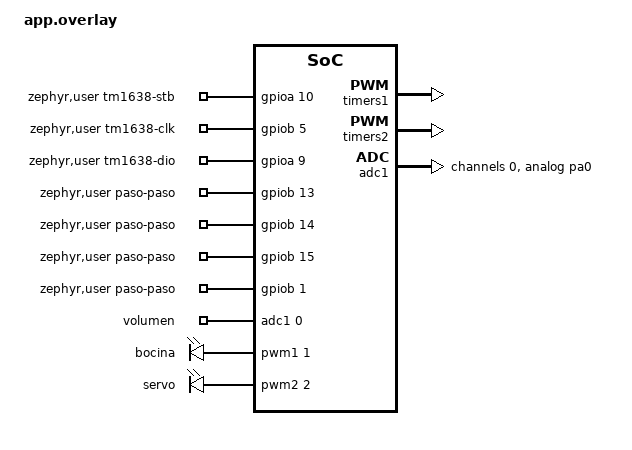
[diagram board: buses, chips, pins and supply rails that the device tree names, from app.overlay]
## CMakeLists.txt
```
# SPDX-License-Identifier: Apache-2.0

cmake_minimum_required(VERSION 3.20.0)

find_package(Zephyr REQUIRED HINTS $ENV{ZEPHYR_BASE})
project(hello_world)

target_sources(app PRIVATE
    src/main.c
    src/tm1638.c
    src/megalovania.h
)
```

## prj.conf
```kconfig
# Added automatically by Workbench for Zephyr
#--- DEBUG PRESET - BEGIN ---#
# Set to -Og
CONFIG_DEBUG_OPTIMIZATIONS=y
# Thread awareness support
CONFIG_DEBUG_THREAD_INFO=y
# Generate stack usage per-function
CONFIG_STACK_USAGE=y
# Other options in case not set by default
CONFIG_BUILD_OUTPUT_HEX=y
CONFIG_BUILD_OUTPUT_META=y
CONFIG_OUTPUT_SYMBOLS=y
CONFIG_OUTPUT_STAT=y
CONFIG_OUTPUT_DISASSEMBLY=y
CONFIG_OUTPUT_PRINT_MEMORY_USAGE=y
#--- DEBUG PRESET - END ---#
CONFIG_GPIO=y
CONFIG_PWM=y
CONFIG_LOG=y
CONFIG_RTC=y
CONFIG_ADC=y
```

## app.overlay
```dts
#include <zephyr/dt-bindings/pinctrl/stm32-pinctrl.h>
#include <zephyr/dt-bindings/timer/stm32-timer.h>
#include <zephyr/dt-bindings/gpio/gpio.h>
#include <zephyr/dt-bindings/pwm/pwm.h>
#include <zephyr/dt-bindings/adc/adc.h>

/{
	zephyr,user {
		tm1638-stb-gpios = <&gpioa 10 GPIO_ACTIVE_HIGH>;
		tm1638-clk-gpios = <&gpiob 5 GPIO_ACTIVE_HIGH>;
		tm1638-dio-gpios = <&gpioa 9 GPIO_ACTIVE_HIGH>;

		paso-paso-gpios =<&gpiob 13 GPIO_ACTIVE_HIGH>,
				<&gpiob 14 GPIO_ACTIVE_HIGH>,
				<&gpiob 15 GPIO_ACTIVE_HIGH>,
				<&gpiob 1 GPIO_ACTIVE_HIGH>;

		io-channels = <&adc1 0>;
		io-channel-names = "volumen";
	};

	bocina_servo_pwm{
		compatible = "pwm-leds";

		bocina: out-pwm {
			pwms = <&pwm1 1 PWM_MSEC(20) PWM_POLARITY_NORMAL>;
		};

		servo: out-pwm-2 {
			pwms= <&pwm2 2 PWM_MSEC(20) PWM_POLARITY_NORMAL>;
		};
	};
};

&timers1 {
	status = "okay";
	st,prescaler = <83>;
	pwm1: pwm{
		status = "okay";
		pinctrl-0 = <&tim1_ch1_pa8>;
		pinctrl-names = "default";
	};
};

&timers2 {
	status = "okay";
	st,prescaler = <83>;
	pwm2: pwm{
		status = "okay";
		pinctrl-0 = <&tim2_ch2_pb3>;
		pinctrl-names = "default";
	};
};

&adc1 {
	#address-cells = <1>;
	#size-cells = <0>;
    	pinctrl-names = "default";
    	pinctrl-0 = <&analog_pa0>;
    	status = "okay";
	channel@0{
		reg = <0>;
		zephyr,gain = "ADC_GAIN_1";
		zephyr,reference = "ADC_REF_INTERNAL";
		zephyr,vref-mv = <3300>;
		zephyr,acquisition-time = <ADC_ACQ_TIME(ADC_ACQ_TIME_MICROSECONDS, 40)>;
		zephyr,resolution = <12>;
	};
};
```

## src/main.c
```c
/*
 * Copyright (c) 2012-2014 Wind River Systems, Inc.
 *
 * SPDX-License-Identifier: Apache-2.0
 */
#include <zephyr/kernel.h>
#include <zephyr/drivers/gpio.h>
#include <zephyr/drivers/rtc.h>
#include <zephyr/devicetree.h>
#include <zephyr/drivers/adc.h>
#include <zephyr/sys/util.h>
#include <zephyr/device.h>
#include <zephyr/logging/log.h>
#include <zephyr/drivers/pwm.h>
#include "tm1638.h"	
#include <stdlib.h>
#include <math.h>
#include "megalovania.h"

#define USER_NODE DT_PATH(zephyr_user)

#define STACK_SIZE 512

#define PRIORITY_ONE 1
#define PRIORITY_TWO 2
#define PRIORITY_TRE 3
#define PRIORITY_FOR 4
#define PRIORITY_FIV 5

#define CLAVE_CAJA 2707

LOG_MODULE_REGISTER(puerta, LOG_LEVEL_DBG);

//colas

//colas adc

K_MSGQ_DEFINE(lec_raw , sizeof(int16_t),2, 1);
K_MSGQ_DEFINE(lec_fun , sizeof(int16_t),2, 1);
K_MSGQ_DEFINE(sum_fun , sizeof(int),1, 1);
K_MSGQ_DEFINE(lec_fin , sizeof(int16_t),1, 1);

//colas boton

K_MSGQ_DEFINE(botones , sizeof(int),1, 1);
K_MSGQ_DEFINE(antireb, sizeof(int),1, 1);
K_MSGQ_DEFINE(ingreso , sizeof(int),1, 1);
K_MSGQ_DEFINE(numero , sizeof(int),1, 1);

//colas de control

K_MSGQ_DEFINE(open_close , sizeof(bool),1, 1);
K_MSGQ_DEFINE(fail_pass , sizeof(bool),1, 1);
K_MSGQ_DEFINE(s0_s90 , sizeof(bool),1, 1);
K_MSGQ_DEFINE(paspas , sizeof(bool),1, 1);
//semaforos

K_SEM_DEFINE(dis,0,1);
K_SEM_DEFINE(enter,0,1);

K_SEM_DEFINE(bocina,0,1);
K_SEM_DEFINE(pasos,0,1);

//mutex

K_MUTEX_DEFINE(hw_access);

//bobinas

static const struct gpio_dt_spec b[4] ={
	GPIO_DT_SPEC_GET_BY_IDX(USER_NODE, paso_paso_gpios, 0),
	GPIO_DT_SPEC_GET_BY_IDX(USER_NODE, paso_paso_gpios, 1),
	GPIO_DT_SPEC_GET_BY_IDX(USER_NODE, paso_paso_gpios, 2),
	GPIO_DT_SPEC_GET_BY_IDX(USER_NODE, paso_paso_gpios, 3),
};

//tm1638

static const struct gpio_dt_spec stb_pin =
	GPIO_DT_SPEC_GET(USER_NODE, tm1638_stb_gpios);
static const struct gpio_dt_spec clk_pin =
	GPIO_DT_SPEC_GET(USER_NODE, tm1638_clk_gpios);
static const struct gpio_dt_spec dio_pin =
	GPIO_DT_SPEC_GET(USER_NODE, tm1638_dio_gpios);

//ADC

static const struct adc_dt_spec vol =
	ADC_DT_SPEC_GET_BY_NAME(USER_NODE, volumen);

//pwms

static const struct pwm_dt_spec boc = 
	PWM_DT_SPEC_GET(DT_NODELABEL(bocina));
static const struct pwm_dt_spec ser = 
	PWM_DT_SPEC_GET(DT_NODELABEL(servo));

void pasfal(bool i){
	if (i) {
		tm1638_set_digit(4, 0x73); //P
		tm1638_set_digit(5, 0x77); //A
		tm1638_set_digit(6, 0x6D); //S
		tm1638_set_digit(7, 0xED); //S.
	}
	else{
		tm1638_set_digit(4, 0x71); //F
		tm1638_set_digit(5, 0x77); //A
		tm1638_set_digit(6, 0x30); //I
		tm1638_set_digit(7, 0xB8); //L
	}
}

void opco (bool i){
	if (i){
		tm1638_set_digit(4, 0x3F); //O
		tm1638_set_digit(5, 0x73); //P
		tm1638_set_digit(6, 0x79); //E
		tm1638_set_digit(7, 0xD4); //N.
	}
	else{
		tm1638_set_digit(4, 0x39); //C
		tm1638_set_digit(5, 0x38); //L
		tm1638_set_digit(6, 0x3F); //0
		tm1638_set_digit(7, 0xED); //S.
	}
}

//lectura adc

void leer_vol(void){
	int rec;

	int16_t rawvol;

	if (!device_is_ready(vol.dev)){
		LOG_WRN("ADC no esta listo");
	}
	rec = adc_channel_setup_dt(&vol);
	if (rec!=0){
		LOG_WRN("ADC no se pudo configurar");
	}

	struct adc_sequence sec = {
    	.buffer = &rawvol,
    	.buffer_size = sizeof(rawvol),
    };

	while (1){
		rec = adc_sequence_init_dt(&vol, &sec);
		if (rec!=0) LOG_DBG("Error lectura adc: %d", rec);
		rec = adc_read(vol.dev, &sec);
		if (rec!=0) LOG_DBG("Error leer vol: %d", rec);
		k_msgq_put(&lec_raw, &rawvol, K_NO_WAIT);
		k_msleep(50);
	}
}

void funcion_adc (void){
	int16_t rawvol, fin, last = 0;
	float a = 0.1;
	while(1){
		k_msgq_get(&lec_raw, &rawvol, K_FOREVER);
		fin = (int16_t)(last + a*(rawvol - last));
		last = fin;
		k_msgq_put(&lec_fun, &fin, K_NO_WAIT);
	}
}

void suma_adc (void){
	int16_t lec;
	int i = 10, subt=0;
	while (1)
	{
		i ++;
		k_msgq_get(&lec_fun, &lec, K_FOREVER);
		subt += lec;
		if (i == 10){
			i=0;
			k_msgq_put(&sum_fun, &subt, K_NO_WAIT);
			subt = 0;
		}
	}
}

void promedio_adc (void){
	int sum;
	int16_t prom;
	while (1)
	{
		k_msgq_get(&sum_fun, &sum, K_FOREVER);
		prom = sum/10;
		k_msgq_purge(&lec_fin);
		k_msgq_put(&lec_fin, &prom, K_NO_WAIT);
	}
}

//lectura de botones

void lecbot(void){
	int rec, boton;

	rec = tm1638_init(stb_pin, clk_pin, dio_pin);
	if(rec!=0) LOG_WRN("error al iniciar el tm1638 rec = %d\n", rec);

	tm1638_display(0);

	k_msgq_put(&open_close, false, K_NO_WAIT);

	k_sem_give(&dis);
	while(1){
		k_mutex_lock(&hw_access, K_FOREVER);
		boton = tm1638_get_button();
		k_mutex_unlock(&hw_access);
		k_msgq_put(&botones, &boton, K_NO_WAIT);
		k_msleep(50);
	}
}

void antir(void){
	int boton=0, last = 0;
	while(1){
		k_msgq_get(&botones, &boton, K_FOREVER);
		if (boton > 0 && boton != last) {
			k_msgq_put(&antireb, &boton, K_NO_WAIT);
		}
		last = boton;
	}		
}

void menu(void){
	int boton;
	bool i =false;
	while(1){
		k_msgq_get(&antireb, &boton, K_FOREVER);
		if (boton >=1 && boton <= 4) k_msgq_put(&numero, &boton, K_NO_WAIT);
		else if (boton == 5) k_sem_give(&enter);
		else if (boton == 6) k_msgq_put(&open_close, &i, K_NO_WAIT);//boton la cierra nuevamente
	}
}

//display

void numero_mostrar(void){
	int boton, nu[4] = {0,0,0,0}, clave = 0;
	while(1){
		k_msgq_get(&numero, &boton, K_FOREVER);
		nu[boton-1] = (nu[boton-1] + 1) % 10;
		k_mutex_lock(&hw_access, K_FOREVER);
		tm1638_set_number(boton-1, nu[boton-1]);
		k_mutex_unlock(&hw_access);
		clave = nu[0]*1000 + nu[1]*100 + nu[2]*10 + nu[3];
		k_msgq_purge(&ingreso);
		k_msgq_put(&ingreso, &clave, K_NO_WAIT);
	}
}

//interno

void claverec(void){
	int clave= 0 ;
	bool i = true, j =false;
	while(1){
		k_sem_take(&enter, K_FOREVER);
		k_msgq_peek(&ingreso, &clave);
		if (clave == CLAVE_CAJA){
			k_msgq_put(&fail_pass, &i, K_NO_WAIT);
			k_msleep(1000);
			k_msgq_put(&open_close, &i, K_NO_WAIT);
		}
		else{
			k_msgq_put(&fail_pass, &j, K_NO_WAIT); 
		}
	}
}

void openclose(void){
	bool rec, i=true, j=false;
	while(1){
		k_msgq_get(&open_close, &rec, K_FOREVER);
		k_mutex_lock(&hw_access,K_FOREVER);
		opco(rec);
		k_mutex_unlock(&hw_access);
		if (rec == true){
			k_msgq_put(&s0_s90, &i, K_NO_WAIT);
			k_msgq_put(&paspas, &i, K_NO_WAIT);
			k_sem_give(&bocina);
		}
		else{
			k_msgq_put(&s0_s90, &j, K_NO_WAIT);
			k_msgq_put(&paspas, &j, K_NO_WAIT);
		}
	}
}

void failpass(void){
	bool rec;
	while(1){
		k_msgq_get(&fail_pass, &rec, K_FOREVER);
		k_mutex_lock(&hw_access, K_FOREVER);
			pasfal(rec);
		k_mutex_unlock(&hw_access);
	}
}


//funcion de la bocina

void reproducir_nota(const struct pwm_dt_spec *pwm, uint32_t frecuencia_hz, uint32_t duracion_ms)
{
	int16_t rawvol;

    if (frecuencia_hz == SILENCIO)  pwm_set_pulse_dt(pwm, 0);
    else {
		k_msgq_peek(&lec_fin,&rawvol);
        uint32_t periodo_ns = 1000000000U / frecuencia_hz;
        
        uint32_t pulso_max = periodo_ns / 2;

		uint32_t pulso_ns = (pulso_max*rawvol)/4095;

        pwm_set_dt(pwm, periodo_ns, pulso_ns);
    }

    k_msleep(duracion_ms);

    pwm_set_pulse_dt(pwm, 0);
    k_msleep(20);
}

void megalo(void){
	if (!pwm_is_ready_dt(&boc)) LOG_ERR("Bocina no esta lista:");
	while(1){
		k_sem_take(&bocina, K_FOREVER);
		for (int i = 0; i < megalovania_length; i++) {
			reproducir_nota(&boc, megalovania_intro[i].frecuencia, megalovania_intro[i].duracion);
		}
	}
}

//funsiones servo

void servomotor (void){
	if (!pwm_is_ready_dt(&ser)) LOG_ERR("No se pudo configurar el servo");
	pwm_set_pulse_dt(&ser, 1000000);
	bool i;
	while (1){
		k_msgq_get(&s0_s90, &i, K_FOREVER);
		if(i) pwm_set_pulse_dt(&ser, 1000000);
		else pwm_set_pulse_dt(&ser, 2000000);
	}
}

//funciones paso a paso

void pasoapas(void){
	for (int i = 0; i < 4; i++) {
        if (!gpio_is_ready_dt(&b[i])) {
            LOG_ERR("no esta listo el paso a paso");
			return;
        }
        gpio_pin_configure_dt(&b[i], GPIO_OUTPUT_INACTIVE);
    }
	bool k;
	int pasos[8][4]={
		{1,0,0,0},
		{1,1,0,0},
		{0,1,0,0},
		{0,1,1,0},
		{0,0,1,0},
		{0,0,1,1},
		{0,0,0,1},
		{1,0,0,1}};
	while (1)
	{
		k_msgq_get(&paspas, &k, K_FOREVER);
		if (k) {
			for (int i = 0; i < 20; i++)
			{
				for (int j = 0; j < 4; j++)
				{
					gpio_pin_set_dt(&b[j], pasos[i%8][j]);
				}
				k_msleep(20);
			}
		}
		else{
			for (int i = 19; i >= 0; i--)
			{
				for (int j = 0; j < 4; j++)
				{
					gpio_pin_set_dt(&b[j], pasos[i%8][j]);
				}
				k_msleep(20);
			}
		}
	}	
}


K_THREAD_DEFINE (lectura_voltaje, STACK_SIZE, leer_vol, NULL, NULL, NULL,
	PRIORITY_ONE, 0, 0);
K_THREAD_DEFINE (funcion_voltaje, STACK_SIZE, funcion_adc, NULL, NULL, NULL,
	PRIORITY_ONE, 0, 0);
K_THREAD_DEFINE (funcion_suma, STACK_SIZE, suma_adc, NULL, NULL, NULL,
	PRIORITY_ONE, 0, 0);
K_THREAD_DEFINE (promedio_suma, STACK_SIZE, promedio_adc, NULL, NULL, NULL,
	PRIORITY_ONE, 0, 0);

K_THREAD_DEFINE (lectura_boton, STACK_SIZE, lecbot, NULL, NULL, NULL,
	PRIORITY_FIV, 0, 0);
K_THREAD_DEFINE (anti_rebote, STACK_SIZE, antir, NULL, NULL, NULL,
	PRIORITY_FIV, 0, 0);
K_THREAD_DEFINE (menu_boton, STACK_SIZE, menu, NULL, NULL, NULL,
	PRIORITY_FIV, 0, 0);


K_THREAD_DEFINE (displaym, STACK_SIZE, numero_mostrar, NULL, NULL, NULL,
	PRIORITY_FOR, 0, 0);

K_THREAD_DEFINE (rec_clave, STACK_SIZE, claverec, NULL, NULL, NULL,
	PRIORITY_TRE, 0, 0);
K_THREAD_DEFINE (abrir_cerrar, STACK_SIZE, openclose, NULL, NULL, NULL,
	PRIORITY_TRE, 0, 0);
K_THREAD_DEFINE (fallar_pasar, STACK_SIZE, failpass, NULL, NULL, NULL,
	PRIORITY_TRE, 0, 0);

K_THREAD_DEFINE (bocina_megalo, STACK_SIZE, megalo, NULL, NULL, NULL,
	PRIORITY_TWO, 0, 0);

K_THREAD_DEFINE (motor_pasos, STACK_SIZE, pasoapas, NULL, NULL, NULL,
	PRIORITY_TRE, 0, 0);
K_THREAD_DEFINE (motor_servo, STACK_SIZE, servomotor, NULL, NULL, NULL,
	PRIORITY_TRE, 0, 0);
```

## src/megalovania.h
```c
#ifndef MEGALOVANIA_H
#define MEGALOVANIA_H

#include <stdint.h>

/* Estructura para definir cada paso de la melodía */
struct nota_musical {
    uint32_t frecuencia; /* Frecuencia en Hz (0 para silencio) */
    uint32_t duracion;   /* Duración en milisegundos */
};

/* Frecuencias de las notas necesarias (en Hz) */
#define NOTA_B3  247
#define NOTA_BB3 233
#define NOTA_C4  262
#define NOTA_D4  294
#define NOTA_F4  349
#define NOTA_G4  392
#define NOTA_GS4 415
#define NOTA_A4  440
#define NOTA_D5  587
#define SILENCIO 0

/* Tempo base en milisegundos */
#define TEMPO 110

/* Partitura de la intro (4 compases) */
static const struct nota_musical megalovania_intro[] = {
    /* Compás 1 */
    {NOTA_D4, TEMPO}, {NOTA_D4, TEMPO}, {NOTA_D5, TEMPO * 2}, {NOTA_A4, TEMPO * 2},
    {SILENCIO, TEMPO}, {NOTA_GS4, TEMPO}, {SILENCIO, TEMPO / 2}, {NOTA_G4, TEMPO * 2},
    {NOTA_F4, TEMPO * 2}, {NOTA_D4, TEMPO}, {NOTA_F4, TEMPO}, {NOTA_G4, TEMPO},

    /* Compás 2 */
    {NOTA_C4, TEMPO}, {NOTA_C4, TEMPO}, {NOTA_D5, TEMPO * 2}, {NOTA_A4, TEMPO * 2},
    {SILENCIO, TEMPO}, {NOTA_GS4, TEMPO}, {SILENCIO, TEMPO / 2}, {NOTA_G4, TEMPO * 2},
    {NOTA_F4, TEMPO * 2}, {NOTA_D4, TEMPO}, {NOTA_F4, TEMPO}, {NOTA_G4, TEMPO},

    /* Compás 3 */
    {NOTA_B3, TEMPO}, {NOTA_B3, TEMPO}, {NOTA_D5, TEMPO * 2}, {NOTA_A4, TEMPO * 2},
    {SILENCIO, TEMPO}, {NOTA_GS4, TEMPO}, {SILENCIO, TEMPO / 2}, {NOTA_G4, TEMPO * 2},
    {NOTA_F4, TEMPO * 2}, {NOTA_D4, TEMPO}, {NOTA_F4, TEMPO}, {NOTA_G4, TEMPO},

    /* Compás 4 */
    {NOTA_BB3, TEMPO}, {NOTA_BB3, TEMPO}, {NOTA_D5, TEMPO * 2}, {NOTA_A4, TEMPO * 2},
    {SILENCIO, TEMPO}, {NOTA_GS4, TEMPO}, {SILENCIO, TEMPO / 2}, {NOTA_G4, TEMPO * 2},
    {NOTA_F4, TEMPO * 2}, {NOTA_D4, TEMPO}, {NOTA_F4, TEMPO}, {NOTA_G4, TEMPO}
};

/* Calculamos automáticamente la cantidad de notas del arreglo */
static const int megalovania_length = sizeof(megalovania_intro) / sizeof(megalovania_intro[0]);

#endif /* MEGALOVANIA_H */
```

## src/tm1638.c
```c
#include "tm1638.h"
#include <zephyr/kernel.h>
#include <stdbool.h>
#include <errno.h>
#include <zephyr/sys/printk.h>

#define TM1638_DEBOUNCE_MS 30
#define TM1638_MAX_VALUE   99999999

/*
 * --- Protocolo del TM1638 (resumen) ---
 *
 * 3 lineas:
 *   STB  chip select. En reposo esta en alto; se pone en bajo mientras
 *        dura una transaccion (uno o mas bytes) y vuelve a alto al
 *        terminarla.
 *   CLK  reloj generado por nosotros (el maestro). En reposo alto.
 *   DIO  datos, BIDIRECCIONAL: nosotros la manejamos como salida para
 *        escribir comandos/datos, y la reconfiguramos como entrada
 *        solo durante los 4 bytes que el TM1638 responde al leer el
 *        teclado (ver scan_keys_raw). Por eso cada funcion de bajo
 *        nivel reconfigura gpio_pin_configure_dt(&tm.dio, ...) segun
 *        si va a transmitir o a recibir.
 *
 * Cada byte va LSB primero; DIO cambia con CLK en bajo y se
 * muestrea/valida con CLK en alto (igual que un SPI modo 0 casero).
 *
 * Comandos que usa esta libreria (primer byte de cada transaccion, con
 * STB en bajo mientras dura):
 *   0x44        Modo de escritura con direccion fija: el siguiente
 *               byte fija la direccion (0xC0|addr) y el que sigue a
 *               ese es el dato para esa direccion. Se usa para poder
 *               escribir un solo digito/LED sin tocar el resto.
 *   0xC0 | addr Fija la direccion (0-15) de la memoria de display para
 *               el byte de datos que sigue.
 *   0x80 | n    Control de pantalla: bit3 = encendida (1) / apagada
 *               (0), bits 0-2 = brillo (0-7).
 *   0x42        Inicia lectura del teclado: tras enviar este byte con
 *               STB en bajo, el maestro pone DIO en entrada y hace 4
 *               pulsos de reloj mas para leer 4 bytes de vuelta.
 *
 * La memoria de display tiene 16 direcciones (0x0-0xF). En los modulos
 * "LED&KEY" (el mas comun: 8 digitos + 8 LEDs + 8 botones en fila),
 * cada digito i vive en la direccion par i*2 y su LED asociado en la
 * direccion impar i*2+1.
 */

struct tm1638_state {
	struct gpio_dt_spec stb;
	struct gpio_dt_spec clk;
	struct gpio_dt_spec dio;
	bool initialized;

	/* Antirrebote de botones (ver tm1638_get_button). */
	uint8_t keys_raw_prev;
	uint8_t keys_stable;
	int64_t keys_change_ts;
};

static struct tm1638_state tm;

/* Segmentos a-g para digitos 0-9, usados por tm1638_display(). */
static const uint8_t digit_font[10] = {
	0x3F, 0x06, 0x5B, 0x4F, 0x66,
	0x6D, 0x7D, 0x07, 0x7F, 0x6F,
};

static void send_byte(uint8_t b)
{
	gpio_pin_configure_dt(&tm.dio, GPIO_OUTPUT);

	for (int i = 0; i < 8; i++) {
		gpio_pin_set_dt(&tm.clk, 0);
		gpio_pin_set_dt(&tm.dio, (b >> i) & 0x01);
		k_busy_wait(1);
		gpio_pin_set_dt(&tm.clk, 1);
		k_busy_wait(1);
	}
}

static uint8_t recv_byte(void)
{
	uint8_t b = 0;

	gpio_pin_configure_dt(&tm.dio, GPIO_INPUT);

	for (int i = 0; i < 8; i++) {
		gpio_pin_set_dt(&tm.clk, 0);
		k_busy_wait(1);
		if (gpio_pin_get_dt(&tm.dio)) {
			b |= (1 << i);
		}
		gpio_pin_set_dt(&tm.clk, 1);
		k_busy_wait(1);
	}
	return b;
}

/* Escribe un byte en una direccion fija (0-15) de la memoria de display. */
static void write_at(uint8_t addr, uint8_t data)
{
	gpio_pin_set_dt(&tm.stb, 0);
	send_byte(0x44);
	gpio_pin_set_dt(&tm.stb, 1);
	k_busy_wait(1);

	gpio_pin_set_dt(&tm.stb, 0);
	send_byte(0xC0 | (addr & 0x0F));
	send_byte(data);
	gpio_pin_set_dt(&tm.stb, 1);

	/*
	 * Pequeno margen tras cada transaccion. No es requisito del
	 * protocolo (el TM1638 no lo necesita para funcionar), pero
	 * clear()/clear_digits()/clear_leds()/display() llaman a esta
	 * funcion hasta 16 veces seguidas sin ninguna pausa -- eso
	 * concentra muchas conmutaciones de segmentos/LEDs (y su consumo
	 * de corriente asociado) en una ventana muy corta. Si la
	 * alimentacion del modulo esta al limite, espaciar un poco las
	 * escrituras reduce la probabilidad de que esos picos se sumen.
	 * No sustituye revisar VCC/GND si el problema persiste.
	 */
	k_busy_wait(50);
}

/* Lee el estado crudo (sin antirrebote) de los 8 botones. */
static uint8_t scan_keys_raw(void)
{
	uint8_t keys = 0;
	uint8_t buf[4];

	gpio_pin_set_dt(&tm.stb, 0);
	send_byte(0x42);
	for (int i = 0; i < 4; i++) {
		buf[i] = recv_byte();
	}
	gpio_pin_set_dt(&tm.stb, 1);
	gpio_pin_configure_dt(&tm.dio, GPIO_OUTPUT);

	/*
	 * Agrupacion real de este modulo (verificada empiricamente):
	 * buf[i] bit0 -> boton (i+1)  [botones 1-4]
	 * buf[i] bit4 -> boton (i+5)  [botones 5-8]
	 * (no es buf[i] bit0/bit4 -> botones (2i+1)/(2i+2) como en la
	 * version anterior -- esa agrupacion daba impares/pares cruzados).
	 */
	for (int i = 0; i < 4; i++) {
		if (buf[i] & 0x01) {
			keys |= (1 << i);
		}
		if (buf[i] & 0x10) {
			keys |= (1 << (i + 4));
		}
	}
	return keys;
}

int tm1638_init(struct gpio_dt_spec stb, struct gpio_dt_spec clk, struct gpio_dt_spec dio)
{
	int ret;

	tm.stb = stb;
	tm.clk = clk;
	tm.dio = dio;
	tm.initialized = false;
	tm.keys_raw_prev = 0;
	tm.keys_stable = 0;
	tm.keys_change_ts = k_uptime_get();

	if (!gpio_is_ready_dt(&tm.stb) || !gpio_is_ready_dt(&tm.clk) ||
	    !gpio_is_ready_dt(&tm.dio)) {
		return -ENODEV;
	}
	ret = gpio_pin_configure_dt(&tm.stb, GPIO_OUTPUT_ACTIVE);
	ret |= gpio_pin_configure_dt(&tm.clk, GPIO_OUTPUT_ACTIVE);
	ret |= gpio_pin_configure_dt(&tm.dio, GPIO_OUTPUT_ACTIVE);
	if (ret) {
		return -EIO;
	}

	tm.initialized = true;

	tm1638_clear();
	tm1638_set_brightness(4);
	return 0;
}

int tm1638_set_brightness(uint8_t level)
{
	if (!tm.initialized) {
		return -EIO;
	}
	if (level > 7) {
		return -EINVAL;
	}

	gpio_pin_set_dt(&tm.stb, 0);
	send_byte(0x88 | level); /* bit3=1 -> pantalla encendida */
	gpio_pin_set_dt(&tm.stb, 1);
	return 0;
}

int tm1638_set_digit(int digit, uint8_t segments)
{
	if (!tm.initialized) {
		return -EIO;
	}
	if (digit < 0 || digit > 7) {
		return -EINVAL;
	}

	write_at((uint8_t)digit * 2, segments);
	return 0;
}

int tm1638_display(int value)
{
	if (!tm.initialized) {
		return -EIO;
	}

	if (value < 0 || value > TM1638_MAX_VALUE) {
		/* No representable en 8 digitos: se deja claro con
		 * guiones en vez de fallar en silencio.
		 */
		for (int pos = 0; pos < 8; pos++) {
			tm1638_set_digit(pos, 0x40);
		}
		return -EINVAL;
	}

	tm1638_clear_digits();

	int pos = 7;
	uint32_t v = (uint32_t)value;

	do {
		tm1638_set_digit(pos, digit_font[v % 10]);
		v /= 10;
		pos--;
	} while (v > 0 && pos >= 0);

	return 0;
}

int tm1638_clear(void)
{
	if (!tm.initialized) {
		return -EIO;
	}
	for (uint8_t addr = 0; addr < 16; addr++) {
		write_at(addr, 0x00);
	}
	return 0;
}

int tm1638_clear_digits(void)
{
	if (!tm.initialized) {
		return -EIO;
	}
	for (uint8_t pos = 0; pos < 8; pos++) {
		write_at(pos * 2, 0x00);
	}
	return 0;
}

int tm1638_clear_leds(void)
{
	if (!tm.initialized) {
		return -EIO;
	}
	for (uint8_t pos = 0; pos < 8; pos++) {
		write_at(pos * 2 + 1, 0x00);
	}
	return 0;
}

int tm1638_set_led(int led, int state)
{
	if (!tm.initialized) {
		return -EIO;
	}
	if (led < 0 || led > 7) {
		return -EINVAL;
	}
	if (state != 0 && state != 1) {
		return -EINVAL;
	}

	write_at((uint8_t)led * 2 + 1, state ? 0x01 : 0x00);
	return 0;
}

int tm1638_get_button(void)
{
	if (!tm.initialized) {
		return -EIO;
	}

	uint8_t raw = scan_keys_raw();
	int64_t now = k_uptime_get();

	if (raw != tm.keys_raw_prev) {
		/* Cambio detectado: reinicia el temporizador de estabilidad.
		 * Todavia NO se acepta como valido -- podria ser rebote.
		 */
		tm.keys_raw_prev = raw;
		tm.keys_change_ts = now;
	} else if ((now - tm.keys_change_ts) >= TM1638_DEBOUNCE_MS) {
		/* El estado crudo lleva sin cambiar >= TM1638_DEBOUNCE_MS:
		 * ahora si se acepta como el estado "estable" real.
		 */
		tm.keys_stable = raw;
	}

	if (tm.keys_stable == 0) {
		return 0;
	}

	/* Varios botones a la vez: se prioriza el de menor numero. */
	for (int i = 0; i < 8; i++) {
		if (tm.keys_stable & BIT(i)) {
			return i + 1;
		}
	}

	return 0;
}

int tm1638_set_number(int digit_pos, int number)
{
	if (!tm.initialized) {
		return -EIO;
	}
	if (digit_pos < 0 || digit_pos > 7) {
		return -EINVAL;
	}
	if (number < 0 || number > 9) {
		return -EINVAL;
	}

	return tm1638_set_digit(digit_pos, digit_font[number]);
}
```

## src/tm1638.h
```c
#ifndef TM1638_H_
#define TM1638_H_

#include <stdint.h>
#include <zephyr/drivers/gpio.h>

/*
 * Libreria simple para el modulo TM1638 (8 displays de 7 segmentos,
 * 8 LEDs, 8 botones) sobre Zephyr RTOS, implementada con la API de
 * GPIO de Zephyr (sin nada de Arduino/HAL/delay()/digitalWrite()).
 *
 * Es una libreria "de un solo dispositivo": guarda su estado en
 * variables estaticas dentro de tm1638.c, asi que ninguna funcion
 * recibe ni devuelve un handle/puntero al dispositivo -- eso es lo
 * que permite usarla como tm1638_display(numero) directamente desde
 * main.c. La limitacion a cambio es que solo soporta un TM1638 activo
 * a la vez (de sobra para el caso tipico de un solo modulo).
 *
 * Codigos de retorno usados por las funciones que pueden fallar:
 *    0        -> exito
 *   -EINVAL   -> argumento fuera de rango
 *   -EIO      -> error de comunicacion o libreria no inicializada
 *   -ENODEV   -> (solo en tm1638_init) un GPIO del devicetree no esta listo
 */

/**
 * Inicializa el TM1638 con los 3 pines indicados. Deja el modulo con
 * todos los digitos y LEDs apagados y brillo medio (nivel 4).
 *
 * Los gpio_dt_spec normalmente se obtienen del devicetree con
 * GPIO_DT_SPEC_GET() en main.c (ver ejemplo en main.c y app.overlay).
 */
int tm1638_init(struct gpio_dt_spec stb, struct gpio_dt_spec clk, struct gpio_dt_spec dio);

/**
 * Ajusta el brillo de la pantalla.
 * level: 0 (minimo) a 7 (maximo). Fuera de ese rango -> -EINVAL.
 */
int tm1638_set_brightness(uint8_t level);

/**
 * Muestra un numero entero en los 8 digitos de 7 segmentos, alineado a
 * la derecha (el digito de la derecha = unidades, igual que en una
 * calculadora). Los digitos no usados quedan apagados. value = 0 se
 * muestra correctamente como "0" en el digito de la derecha.
 *
 * Rango valido: 0 a 99999999 (8 digitos, el maximo que entra en el
 * modulo). Un valor fuera de ese rango (incluye negativos) no se puede
 * representar con 8 digitos: la funcion devuelve -EINVAL y, para que
 * el error tambien sea visible en el propio modulo, enciende una fila
 * de guiones "--------" en vez de dejar el valor anterior sin avisar.
 */
int tm1638_display(int value);

/**
 * Control manual de los segmentos de un digito especifico (para
 * dibujar letras, simbolos, o cualquier patron que no sea 0-9).
 *
 * digit: 0-7 (0 = digito mas a la izquierda, 7 = mas a la derecha).
 *        Fuera de rango -> -EINVAL.
 * segments: mapa de bits, uno por segmento -- este es el orden que usa
 *           el TM1638 en su registro de display, no hace falta
 *           reordenarlo:
 *     bit 0 = a      bit 4 = e
 *     bit 1 = b      bit 5 = f
 *     bit 2 = c      bit 6 = g
 *     bit 3 = d      bit 7 = dp (punto decimal)
 *           0xFF enciende los 7 segmentos + el punto decimal.
 *           0x00 apaga todos los segmentos de ese digito.
 */
int tm1638_set_digit(int digit, uint8_t segments);

/** Apaga los 8 digitos de 7 segmentos Y los 8 LEDs. */
int tm1638_clear(void);

/** Apaga solo los 8 digitos de 7 segmentos (los LEDs no se tocan). */
int tm1638_clear_digits(void);

/** Apaga solo los 8 LEDs (los digitos de 7 segmentos no se tocan). */
int tm1638_clear_leds(void);

/**
 * Enciende o apaga un LED individual.
 * led: 0-7. state: 0 (apagado) o 1 (encendido).
 * Cualquier valor fuera de esos rangos devuelve -EINVAL.
 */
int tm1638_set_led(int led, int state);

/**
 * Devuelve que boton esta presionado, con antirrebote (debounce) ya
 * aplicado:
 *    0     -> ningun boton presionado
 *   1..8   -> boton N presionado (numerados de izquierda a derecha)
 *   -EIO   -> libreria no inicializada
 *
 * Si se presiona mas de un boton a la vez, se devuelve el de menor
 * numero (el mas a la izquierda). Es una decision de diseno necesaria
 * porque la funcion solo puede comunicar un boton por llamada; ver el
 * comentario junto a su implementacion en tm1638.c si tu proyecto
 * necesita conocer el estado de los 8 botones simultaneamente.
 *
 * El antirrebote es NO bloqueante (no llama a k_sleep internamente):
 * una lectura solo se toma como valida despues de que el estado fisico
 * se mantiene estable durante TM1638_DEBOUNCE_MS. Por eso hay que
 * llamar a esta funcion periodicamente (p. ej. cada 10-20 ms dentro
 * del loop principal); una sola llamada aislada puede no reflejar
 * todavia el estado "asentado" del boton.
 */
int tm1638_get_button(void);

/**
 * Muestra un número (0-9) en un display de 7 segmentos específico.
 *
 * digit_pos: 0-7 (0 = dígito más a la izquierda, 7 = más a la derecha).
 *            Fuera de rango -> -EINVAL.
 * number: 0-9. Fuera de rango -> -EINVAL.
 */
int tm1638_set_number(int digit_pos, int number);

#endif /* TM1638_H_ */
```
